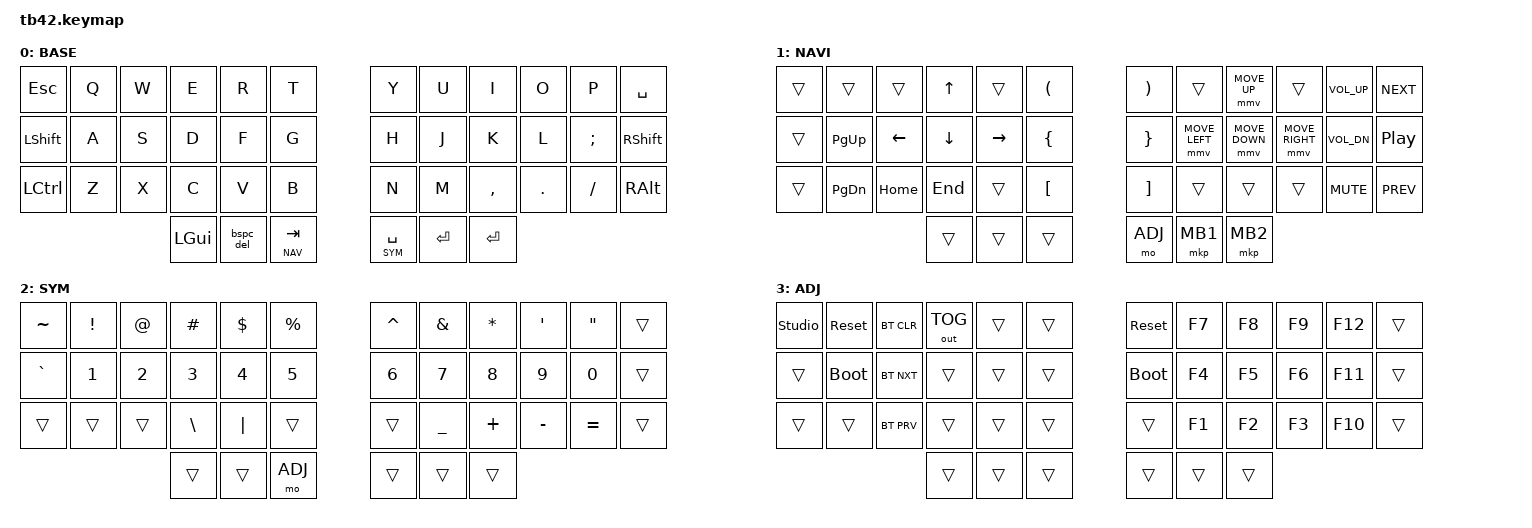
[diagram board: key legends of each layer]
#include <behaviors.dtsi>
#include <dt-bindings/zmk/keys.h>
#include <dt-bindings/zmk/bt.h>
#include <dt-bindings/zmk/outputs.h>
#include <dt-bindings/zmk/pointing.h>

#define BASE 0
#define NAV  1
#define SYM  2
#define ADJ  3

&mt {
  quick-tap-ms = <100>;
  global-quick-tap;
  flavor = "tap-preferred";
  tapping-term-ms = <170>;
};

/ {

    behaviors {
        bspc_del: backspace_delete {
            compatible = "zmk,behavior-mod-morph";
            #binding-cells = <0>;
            bindings = <&kp BACKSPACE>, <&kp DELETE>;
            mods = <(MOD_LSFT|MOD_RSFT)>;
        };
    };

        keymap {
                compatible = "zmk,keymap";
// ▄▄▄▄▄▄▄▄▄▄▄▄▄▄▄▄▄▄▄▄▄▄▄▄▄▄▄▄▄▄▄▄▄▄▄▄▄▄▄▄▄▄▄▄▄▄▄▄▄▄▄▄▄▄▄▄▄▄▄▄▄▄▄▄▄▄▄▄▄▄▄▄▄▄▄▄▄▄▄▄▄▄▄▄▄▄▄▄▄▄▄▄▄▄▄▄▄▄▄▄▄▄▄▄▄▄▄▄▄▄▄▄▄▄▄▄▄▄▄▄▄▄▄▄▄▄▄▄▄▄▄▄▄▄▄▄▄▄▄▄▄▄▄▄▄▄▄▄▄

                base_layer {
// ┏━━━━━━━━━━━━━━━━━━━━━━━━━━━━━━━━━━━━━━━┓
label= "BASE"                              ;
// ┗━━━━━━━━━━━━━━━━━━━━━━━━━━━━━━━━━━━━━━━┛
// ┏━━━━━━━━━━━┳━━━━━━━━━━━┳━━━━━━━━━━━┳━━━━━━━━━━━┳━━━━━━━━━━━┳━━━━━━━━━━━┓   ┏━━━━━━━━━━━┳━━━━━━━━━━━┳━━━━━━━━━━━┳━━━━━━━━━━━┳━━━━━━━━━━━┳━━━━━━━━━━━┓
// ┃   ESC     ┃     Q     ┃     W     ┃     E     ┃     R     ┃     T     ┃   ┃     Y     ┃     U     ┃     I     ┃     O     ┃     P     ┃           ┃
// ┣━━━━━━━━━━━╋━━━━━━━━━━━╋━━━━━━━━━━━╋━━━━━━━━━━━╋━━━━━━━━━━━╋━━━━━━━━━━━┫   ┣━━━━━━━━━━━╋━━━━━━━━━━━╋━━━━━━━━━━━╋━━━━━━━━━━━╋━━━━━━━━━━━╋━━━━━━━━━━━┫
// ┃   SHIFT   ┃     A     ┃     S     ┃     D     ┃     F     ┃     G     ┃   ┃     H     ┃     J     ┃     K     ┃     L     ┃     ;  :  ┃   SHIFT   ┃
// ┣━━━━━━━━━━━╋━━━━━━━━━━━╋━━━━━━━━━━━╋━━━━━━━━━━━╋━━━━━━━━━━━╋━━━━━━━━━━━┫   ┣━━━━━━━━━━━╋━━━━━━━━━━━╋━━━━━━━━━━━╋━━━━━━━━━━━╋━━━━━━━━━━━╋━━━━━━━━━━━┫
// ┃   CTRL    ┃     Z     ┃     X     ┃     C     ┃     V     ┃     B     ┃   ┃     N     ┃     M     ┃     , <   ┃     . >   ┃     /  ?  ┃    ALT    ┃
// ┗━━━━━━━━━━━┻━━━━━━━━━━━┻━━━━━━━━━━━╋━━━━━━━━━━━╋━━━━━━━━━━━╋━━━━━━━━━━━┫   ┣━━━━━━━━━━━╋━━━━━━━━━━━╋━━━━━━━━━━━╋━━━━━━━━━━━┻━━━━━━━━━━━┻━━━━━━━━━━━┛
//                                     ┃    GUI    ┃    BSPC   ┃    TAB    ┃   ┃    SPC    ┃   ENTER   ┃   ENTER   ┃
//                                     ┗━━━━━━━━━━━┻━━━━━━━━━━━┻━━━━━━━━━━━┛   ┗━━━━━━━━━━━┻━━━━━━━━━━━┻━━━━━━━━━━━┛

 bindings = <
    &kp ESC       &kp Q      &kp W      &kp E       &kp R       &kp T           &kp Y       &kp U       &kp I       &kp O       &kp P      &kp SPACE   
    &kp LSHFT     &kp A      &kp S      &kp D       &kp F       &kp G           &kp H       &kp J       &kp K       &kp L       &kp SEMI   &kp RSHFT 
    &kp LCTRL     &kp Z      &kp X      &kp C       &kp V       &kp B           &kp N       &kp M       &kp COMMA   &kp DOT     &kp FSLH   &kp RALT 
                                     &kp LEFT_GUI   &bspc_del   &lt NAV TAB   &lt SYM SPACE &kp RET     &kp RET
            >;
    };

// ▄▄▄▄▄▄▄▄▄▄▄▄▄▄▄▄▄▄▄▄▄▄▄▄▄▄▄▄▄▄▄▄▄▄▄▄▄▄▄▄▄▄▄▄▄▄▄▄▄▄▄▄▄▄▄▄▄▄▄▄▄▄▄▄▄▄▄▄▄▄▄▄▄▄▄▄▄▄▄▄▄▄▄▄▄▄▄▄▄▄▄▄▄▄▄▄▄▄▄▄▄▄▄▄▄▄▄▄▄▄▄▄▄▄▄▄▄▄▄▄▄▄▄▄▄▄▄▄▄▄▄▄▄▄▄▄▄▄▄▄▄▄▄▄▄▄▄▄▄


                nav_layer {
// ┏━━━━━━━━━━━━━━━━━━━━━━━━━━━━━━━━━━━━━━━┓
label= "NAVI"                              ;
// ┗━━━━━━━━━━━━━━━━━━━━━━━━━━━━━━━━━━━━━━━┛
// ┏━━━━━━━━━━━┳━━━━━━━━━━━┳━━━━━━━━━━━┳━━━━━━━━━━━┳━━━━━━━━━━━┳━━━━━━━━━━━┓   ┏━━━━━━━━━━━┳━━━━━━━━━━━┳━━━━━━━━━━━┳━━━━━━━━━━━┳━━━━━━━━━━━┳━━━━━━━━━━━┓
// ┃           ┃           ┃           ┃     UP    ┃           ┃     (     ┃   ┃     )     ┃           ┃   M UP    ┃           ┃    VOL+   ┃    NEXT   ┃
// ┣━━━━━━━━━━━╋━━━━━━━━━━━╋━━━━━━━━━━━╋━━━━━━━━━━━╋━━━━━━━━━━━╋━━━━━━━━━━━┫   ┣━━━━━━━━━━━╋━━━━━━━━━━━╋━━━━━━━━━━━╋━━━━━━━━━━━╋━━━━━━━━━━━╋━━━━━━━━━━━┫
// ┃           ┃   P UP    ┃    LEFT   ┃    DOWN   ┃   RIGHT   ┃     {     ┃   ┃     }     ┃   M LEFT  ┃  M DOWN   ┃  M RIGHT  ┃    VOL-   ┃    PLAY   ┃
// ┣━━━━━━━━━━━╋━━━━━━━━━━━╋━━━━━━━━━━━╋━━━━━━━━━━━╋━━━━━━━━━━━╋━━━━━━━━━━━┫   ┣━━━━━━━━━━━╋━━━━━━━━━━━╋━━━━━━━━━━━╋━━━━━━━━━━━╋━━━━━━━━━━━╋━━━━━━━━━━━┫
// ┃           ┃  P DOWN   ┃    HOME   ┃    END    ┃           ┃     [     ┃   ┃     ]     ┃           ┃           ┃           ┃    MUTE   ┃    PREV   ┃
// ┗━━━━━━━━━━━┻━━━━━━━━━━━┻━━━━━━━━━━━╋━━━━━━━━━━━╋━━━━━━━━━━━╋━━━━━━━━━━━┫   ┣━━━━━━━━━━━╋━━━━━━━━━━━╋━━━━━━━━━━━╋━━━━━━━━━━━┻━━━━━━━━━━━┻━━━━━━━━━━━┛
//                                     ┃           ┃           ┃           ┃   ┃    ADJ    ┃    M B1   ┃   M B2    ┃
//                                     ┗━━━━━━━━━━━┻━━━━━━━━━━━┻━━━━━━━━━━━┛   ┗━━━━━━━━━━━┻━━━━━━━━━━━┻━━━━━━━━━━━┛
 bindings = <
    &trans      &trans      &trans      &kp UP      &trans      &kp LPAR        &kp RPAR    &trans     &mmv MOVE_UP  &trans    &kp C_VOL_UP  &kp C_NEXT
    &trans      &kp PG_UP   &kp LEFT    &kp DOWN    &kp RIGHT   &kp LBRC      &kp RBRC &mmv MOVE_LEFT &mmv MOVE_DOWN &mmv MOVE_RIGHT &kp C_VOL_DN &kp C_PP
    &trans      &kp PG_DN   &kp HOME    &kp END     &trans      &kp LBKT        &kp RBKT    &trans      &trans        &trans      &kp C_MUTE    &kp C_PREV
                                        &trans      &trans      &trans          &mo ADJ     &mkp MB1     &mkp MB2      
            >;
    };

// ▄▄▄▄▄▄▄▄▄▄▄▄▄▄▄▄▄▄▄▄▄▄▄▄▄▄▄▄▄▄▄▄▄▄▄▄▄▄▄▄▄▄▄▄▄▄▄▄▄▄▄▄▄▄▄▄▄▄▄▄▄▄▄▄▄▄▄▄▄▄▄▄▄▄▄▄▄▄▄▄▄▄▄▄▄▄▄▄▄▄▄▄▄▄▄▄▄▄▄▄▄▄▄▄▄▄▄▄▄▄▄▄▄▄▄▄▄▄▄▄▄▄▄▄▄▄▄▄▄▄▄▄▄▄▄▄▄▄▄▄▄▄▄▄▄▄▄▄▄


                sim_layer {
// ┏━━━━━━━━━━━━━━━━━━━━━━━━━━━━━━━━━━━━━━━┓
label= "SYM"                               ;
// ┗━━━━━━━━━━━━━━━━━━━━━━━━━━━━━━━━━━━━━━━┛
// ┏━━━━━━━━━━━┳━━━━━━━━━━━┳━━━━━━━━━━━┳━━━━━━━━━━━┳━━━━━━━━━━━┳━━━━━━━━━━━┓   ┏━━━━━━━━━━━┳━━━━━━━━━━━┳━━━━━━━━━━━┳━━━━━━━━━━━┳━━━━━━━━━━━┳━━━━━━━━━━━┓
// ┃    ~      ┃     !     ┃     @     ┃     #     ┃     $     ┃     %     ┃   ┃     ˆ     ┃     &     ┃     *     ┃     '     ┃     "     ┃           ┃
// ┣━━━━━━━━━━━╋━━━━━━━━━━━╋━━━━━━━━━━━╋━━━━━━━━━━━╋━━━━━━━━━━━╋━━━━━━━━━━━┫   ┣━━━━━━━━━━━╋━━━━━━━━━━━╋━━━━━━━━━━━╋━━━━━━━━━━━╋━━━━━━━━━━━╋━━━━━━━━━━━┫
// ┃    `      ┃     1     ┃     2     ┃     3     ┃     4     ┃     5     ┃   ┃     6     ┃     7     ┃     8     ┃     9     ┃    0      ┃           ┃
// ┣━━━━━━━━━━━╋━━━━━━━━━━━╋━━━━━━━━━━━╋━━━━━━━━━━━╋━━━━━━━━━━━╋━━━━━━━━━━━┫   ┣━━━━━━━━━━━╋━━━━━━━━━━━╋━━━━━━━━━━━╋━━━━━━━━━━━╋━━━━━━━━━━━╋━━━━━━━━━━━┫
// ┃           ┃           ┃           ┃    \      ┃     |     ┃           ┃   ┃           ┃     _     ┃     +     ┃    . >    ┃    =      ┃           ┃
// ┗━━━━━━━━━━━┻━━━━━━━━━━━┻━━━━━━━━━━━╋━━━━━━━━━━━╋━━━━━━━━━━━╋━━━━━━━━━━━┫   ┣━━━━━━━━━━━╋━━━━━━━━━━━╋━━━━━━━━━━━╋━━━━━━━━━━━┻━━━━━━━━━━━┻━━━━━━━━━━━┛
//                                     ┃           ┃           ┃    ADJ    ┃   ┃           ┃           ┃           ┃
//                                     ┗━━━━━━━━━━━┻━━━━━━━━━━━┻━━━━━━━━━━━┛   ┗━━━━━━━━━━━┻━━━━━━━━━━━┻━━━━━━━━━━━┛
 bindings = <
// ╷           ╷           ╷           ╷           ╷           ╷               ╷           ╷           ╷           ╷           ╷           ╷

    &kp TILDE   &kp EXCL    &kp AT      &kp HASH    &kp DLLR    &kp PRCNT       &kp CARET   &kp AMPS    &kp ASTRK    &kp SQT     &kp DQT    &trans  
    &kp GRAVE   &kp N1      &kp N2      &kp N3      &kp N4      &kp N5          &kp N6      &kp N7      &kp N8       &kp N9      &kp N0     &trans 
    &trans      &trans      &trans      &kp BSLH    &kp PIPE    &trans          &trans      &kp UNDER   &kp PLUS     &kp MINUS   &kp EQUAL  &trans    
                                        &trans      &trans      &mo ADJ         &trans      &trans      &trans      
            >;
    };

// ▄▄▄▄▄▄▄▄▄▄▄▄▄▄▄▄▄▄▄▄▄▄▄▄▄▄▄▄▄▄▄▄▄▄▄▄▄▄▄▄▄▄▄▄▄▄▄▄▄▄▄▄▄▄▄▄▄▄▄▄▄▄▄▄▄▄▄▄▄▄▄▄▄▄▄▄▄▄▄▄▄▄▄▄▄▄▄▄▄▄▄▄▄▄▄▄▄▄▄▄▄▄▄▄▄▄▄▄▄▄▄▄▄▄▄▄▄▄▄▄▄▄▄▄▄▄▄▄▄▄▄▄▄▄▄▄▄▄▄▄▄▄▄▄▄▄▄▄▄


                adjust_layer {
// ┏━━━━━━━━━━━━━━━━━━━━━━━━━━━━━━━━━━━━━━━┓
label= "ADJ"                               ;
// ┗━━━━━━━━━━━━━━━━━━━━━━━━━━━━━━━━━━━━━━━┛
// ┏━━━━━━━━━━━┳━━━━━━━━━━━┳━━━━━━━━━━━┳━━━━━━━━━━━┳━━━━━━━━━━━┳━━━━━━━━━━━┓   ┏━━━━━━━━━━━┳━━━━━━━━━━━┳━━━━━━━━━━━┳━━━━━━━━━━━┳━━━━━━━━━━━┳━━━━━━━━━━━┓
// ┃  ZMK STD  ┃   RESET   ┃ BT CLEAR  ┃  OUT TOG  ┃           ┃           ┃   ┃   RESET   ┃    F7     ┃    F8     ┃    F9     ┃    F12    ┃           ┃
// ┣━━━━━━━━━━━╋━━━━━━━━━━━╋━━━━━━━━━━━╋━━━━━━━━━━━╋━━━━━━━━━━━╋━━━━━━━━━━━┫   ┣━━━━━━━━━━━╋━━━━━━━━━━━╋━━━━━━━━━━━╋━━━━━━━━━━━╋━━━━━━━━━━━╋━━━━━━━━━━━┫
// ┃           ┃ BOOTLOAD  ┃ BT NEXT   ┃           ┃           ┃           ┃   ┃  BOOTLOAD ┃    F4     ┃    F5     ┃    F6     ┃    F11    ┃           ┃
// ┣━━━━━━━━━━━╋━━━━━━━━━━━╋━━━━━━━━━━━╋━━━━━━━━━━━╋━━━━━━━━━━━╋━━━━━━━━━━━┫   ┣━━━━━━━━━━━╋━━━━━━━━━━━╋━━━━━━━━━━━╋━━━━━━━━━━━╋━━━━━━━━━━━╋━━━━━━━━━━━┫
// ┃           ┃           ┃ BT PREV   ┃           ┃           ┃           ┃   ┃           ┃    F1     ┃    F2     ┃    F3     ┃    F10    ┃           ┃
// ┗━━━━━━━━━━━┻━━━━━━━━━━━┻━━━━━━━━━━━╋━━━━━━━━━━━╋━━━━━━━━━━━╋━━━━━━━━━━━┫   ┣━━━━━━━━━━━╋━━━━━━━━━━━╋━━━━━━━━━━━╋━━━━━━━━━━━┻━━━━━━━━━━━┻━━━━━━━━━━━┛
//                                     ┃           ┃           ┃           ┃   ┃           ┃           ┃           ┃
//                                     ┗━━━━━━━━━━━┻━━━━━━━━━━━┻━━━━━━━━━━━┛   ┗━━━━━━━━━━━┻━━━━━━━━━━━┻━━━━━━━━━━━┛
 bindings = <
// ╷           ╷           ╷           ╷           ╷           ╷               ╷           ╷           ╷           ╷           ╷           ╷  

 &studio_unlock &sys_reset  &bt BT_CLR &out OUT_TOG &trans      &trans          &sys_reset  &kp F7      &kp F8      &kp F9      &kp F12     &trans
    &trans      &bootloader &bt BT_NXT  &trans      &trans      &trans          &bootloader &kp F4      &kp F5      &kp F6      &kp F11     &trans
    &trans      &trans      &bt BT_PRV  &trans      &trans      &trans          &trans      &kp F1      &kp F2      &kp F3      &kp F10     &trans
                                        &trans      &trans      &trans          &trans      &trans      &trans      
            >;
    };
        };
};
